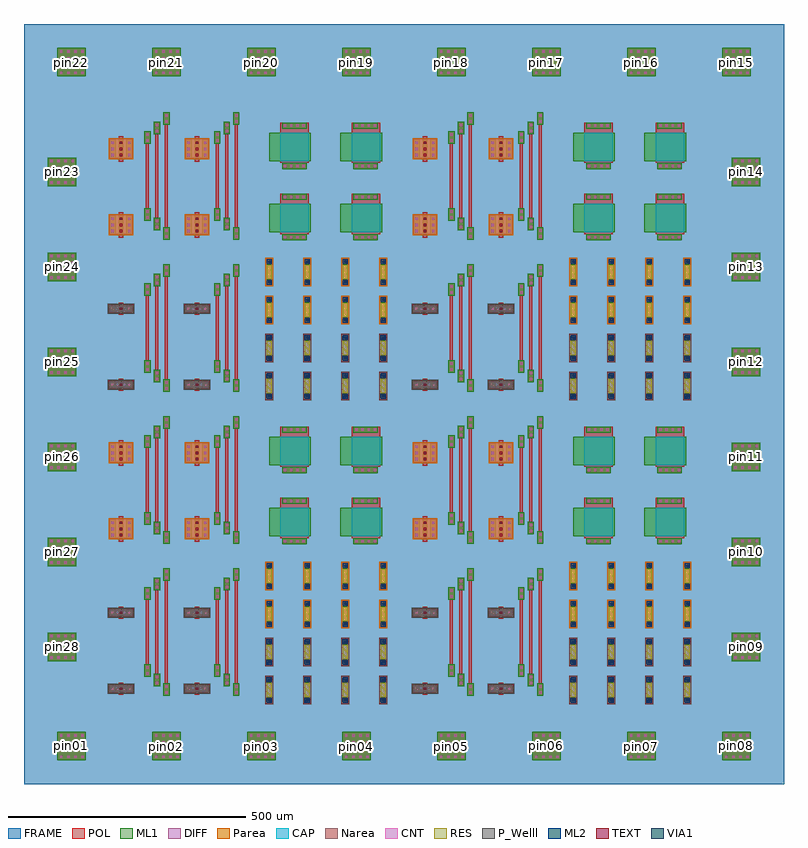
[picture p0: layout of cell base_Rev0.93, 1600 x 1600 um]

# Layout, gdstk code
from math import pi, radians
import gdstk
lib = gdstk.Library(unit=1e-6, precision=1e-09)
def R(c, l, rs):  # rectangles x0, y0, x1, y1
    for r in rs: c.add(gdstk.rectangle(r[:2], r[2:], *l))
DIFF = (3, 0)
POL = (5, 0)
CNT = (7, 0)
ML1 = (8, 0)
VIA1 = (9, 0)
ML2 = (10, 0)
TEXT = (13, 0)
FRAME = (14, 0)
RES = (15, 0)
CAP = (16, 0)
Parea = (18, 0)
Narea = (19, 0)
P_Welll = (21, 0)

c_16_5x5_flame = lib.new_cell('16_5x5_flame')
R(c_16_5x5_flame, FRAME, [(-800,-800,800,800), (-750,-750,750,750)])

dcont = lib.new_cell('dcont')
R(dcont, DIFF, [(-6.5,-6.5,6.5,6.5)])
R(dcont, CNT, [(-2.5,-2.5,2.5,2.5)])
R(dcont, ML1, [(-6.5,-6.5,6.5,6.5)])

pcont_min = lib.new_cell('pcont_min')
R(pcont_min, POL, [(-4.5,-6.5,4.5,6.5)])
R(pcont_min, CNT, [(-2.5,-2.5,2.5,2.5)])
R(pcont_min, ML1, [(-4.5,-6.5,4.5,6.5)])
R(pcont_min, TEXT, [(-2.5,-2.5,2.5,2.5)])

pch_1 = lib.new_cell('Pch$1')
R(pch_1, DIFF, [(0,17,48,57)])
R(pch_1, Parea, [(-2,15,50,59)])
pch_1.add(gdstk.FlexPath([(6.5,17),(6.5,57)], 13, ends="flush", simple_path=True, layer=8, datatype=0))  # ML1
pch_1.add(gdstk.FlexPath([(41.5,17),(41.5,57)], 13, ends="flush", simple_path=True, layer=8, datatype=0))  # ML1
pch_1.add(gdstk.FlexPath([(24,17),(24,57)], 10, ends=(6.5, 6.5), simple_path=True, layer=5, datatype=0))  # POL
pch_1.add(gdstk.Reference(dcont, (6.5,24)))
pch_1.add(gdstk.Reference(dcont, (6.5,37)))
pch_1.add(gdstk.Reference(dcont, (6.5,50)))
pch_1.add(gdstk.Reference(dcont, (41.5,24)))
pch_1.add(gdstk.Reference(dcont, (41.5,37)))
pch_1.add(gdstk.Reference(dcont, (41.5,50)))
pch_1.add(gdstk.Reference(pcont_min, (24,24)))
pch_1.add(gdstk.Reference(pcont_min, (24,37)))
pch_1.add(gdstk.Reference(pcont_min, (24,50)))

tin_m1 = lib.new_cell('tin_M1')
R(tin_m1, POL, [(-7,-7,6,6)])
R(tin_m1, CNT, [(-3,-3,2,2)])
R(tin_m1, ML1, [(-7,-7,6,6)])

v_tin_line3 = lib.new_cell('V_tin_line3')
v_tin_line3.add(gdstk.FlexPath([(-20.5,74),(-20.5,-74)], 6, ends="extended", simple_path=True, layer=5, datatype=0))  # POL
v_tin_line3.add(gdstk.FlexPath([(-0.5,94),(-0.5,-94)], 6, ends="extended", simple_path=True, layer=5, datatype=0))  # POL
v_tin_line3.add(gdstk.FlexPath([(19.5,114),(19.5,-114)], 6, ends="extended", simple_path=True, layer=5, datatype=0))  # POL
r = gdstk.Reference(tin_m1, (-20.5,74), rotation=pi); r.repetition = gdstk.Repetition(2, 3, v1=(0,13), v2=(20,20)); v_tin_line3.add(r)
r = gdstk.Reference(tin_m1, (-20.5,-88), rotation=pi); r.repetition = gdstk.Repetition(2, 3, v1=(0,13), v2=(20,-20)); v_tin_line3.add(r)

pmos_array = lib.new_cell('pmos_array')
R(pmos_array, FRAME, [(-160,-160,160,160)])
r = gdstk.Reference(pch_1, (-140,-140)); r.repetition = gdstk.Repetition(2, 2, v1=(160,0), v2=(0,160)); pmos_array.add(r)
pmos_array.add(gdstk.Reference(v_tin_line3, (-40,0)))
pmos_array.add(gdstk.Reference(v_tin_line3, (107,0)))

nch_1 = lib.new_cell('Nch$1')
R(nch_1, DIFF, [(0,18.5,48,28.5)])
R(nch_1, Narea, [(-2,15,50,32)])
R(nch_1, P_Welll, [(-4,13,52,34)])
nch_1.add(gdstk.FlexPath([(6.5,17),(6.5,30)], 13, ends="flush", simple_path=True, layer=8, datatype=0))  # ML1
nch_1.add(gdstk.FlexPath([(41.5,17),(41.5,30)], 13, ends="flush", simple_path=True, layer=8, datatype=0))  # ML1
nch_1.add(gdstk.FlexPath([(24,17),(24,30)], 10, ends=(6.5, 6.5), simple_path=True, layer=5, datatype=0))  # POL
nch_1.add(gdstk.Reference(dcont, (6.5,23.5)))
nch_1.add(gdstk.Reference(dcont, (41.5,23.5)))
nch_1.add(gdstk.Reference(pcont_min, (24,23.5)))

nmos_array = lib.new_cell('nmos_array')
R(nmos_array, FRAME, [(-160,-160,160,160)])
r = gdstk.Reference(nch_1, (-140,-143)); r.repetition = gdstk.Repetition(2, 2, v1=(160,0), v2=(0,160)); nmos_array.add(r)
nmos_array.add(gdstk.Reference(v_tin_line3, (-40,0)))
nmos_array.add(gdstk.Reference(v_tin_line3, (107,0)))

via = lib.new_cell('Via')
R(via, ML1, [(-6.5,-6.5,6.5,6.5)])
R(via, VIA1, [(-2.5,-2.5,2.5,2.5)])
R(via, ML2, [(-5,-5,5,5)])
R(via, TEXT, [(-2.5,-2.5,2.5,2.5)])

r_ndiff = lib.new_cell('R_ndiff')
R(r_ndiff, Narea, [(-2,-2,15,58)])
r_ndiff.add(gdstk.FlexPath([(6.5,0),(6.5,56)], 10, ends="flush", simple_path=True, layer=3, datatype=0))  # DIFF
r_ndiff.add(gdstk.FlexPath([(6.5,13),(6.5,43)], 10, ends="flush", simple_path=True, layer=15, datatype=0))  # RES
r_ndiff.add(gdstk.Reference(dcont, (6.5,6.5), rotation=pi/2))
r_ndiff.add(gdstk.Reference(via, (6.5,6.5)))
r_ndiff.add(gdstk.Reference(dcont, (6.5,49.5), rotation=pi/2))
r_ndiff.add(gdstk.Reference(via, (6.5,49.5)))

r_pdiff_1 = lib.new_cell('R_pdiff$1')
R(r_pdiff_1, Parea, [(-2,-2,15,58)])
r_pdiff_1.add(gdstk.FlexPath([(6.5,0),(6.5,56)], 10, ends="flush", simple_path=True, layer=3, datatype=0))  # DIFF
r_pdiff_1.add(gdstk.FlexPath([(6.5,13),(6.5,43)], 10, ends="flush", simple_path=True, layer=15, datatype=0))  # RES
r_pdiff_1.add(gdstk.Reference(dcont, (6.5,6.5), rotation=pi/2))
r_pdiff_1.add(gdstk.Reference(via, (6.5,6.5)))
r_pdiff_1.add(gdstk.Reference(dcont, (6.5,49.5), rotation=pi/2))
r_pdiff_1.add(gdstk.Reference(via, (6.5,49.5)))

resistor_array = lib.new_cell('resistor_array')
R(resistor_array, FRAME, [(-160,-160,160,160)])
r = gdstk.Reference(r_ndiff, (-130,-150)); r.repetition = gdstk.Repetition(4, 2, v1=(80,0), v2=(0,80)); resistor_array.add(r)
r = gdstk.Reference(r_pdiff_1, (-130,10)); r.repetition = gdstk.Repetition(4, 2, v1=(80,0), v2=(0,80)); resistor_array.add(r)

tin_cap = lib.new_cell('TIN_cap')
R(tin_cap, POL, [(23.5,-4,83.5,81)])
R(tin_cap, ML1, [(0,0,87.5,60)])
R(tin_cap, CAP, [(23.5,0,83.5,60)])

cap_con = lib.new_cell('cap_con')
cap_con.add(gdstk.Reference(tin_cap, (-43.75,-38.5)))
r = gdstk.Reference(tin_m1, (28.25,35.5), rotation=pi); r.repetition = gdstk.Repetition(4, 1, v1=(-13,0), v2=(0,0)); cap_con.add(r)
r = gdstk.Reference(tin_m1, (28.25,-49.5), rotation=pi); r.repetition = gdstk.Repetition(4, 1, v1=(-13,0), v2=(0,0)); cap_con.add(r)

tin_m1_cap_array = lib.new_cell('tin_m1_cap_array')
R(tin_m1_cap_array, FRAME, [(-160,-160,160,160)])
r = gdstk.Reference(cap_con, (-80,-80)); r.repetition = gdstk.Repetition(2, 2, v1=(150,0), v2=(0,150)); tin_m1_cap_array.add(r)

base_array = lib.new_cell('base_array')
base_array.add(gdstk.Reference(pmos_array, (-160,160)))
base_array.add(gdstk.Reference(nmos_array, (-160,-160)))
base_array.add(gdstk.Reference(resistor_array, (160,-160)))
base_array.add(gdstk.Reference(tin_m1_cap_array, (160,160)))

pad_60_m1_tin = lib.new_cell('pad_60_m1_tin')
R(pad_60_m1_tin, POL, [(-30,-30,30,30), (-30,-30,30,30)])
R(pad_60_m1_tin, ML1, [(-30,-30,30,30)])
r = gdstk.Reference(tin_m1, (22,-23), rotation=pi/2); r.repetition = gdstk.Repetition(4, 4, v1=(0,15), v2=(-15,0)); pad_60_m1_tin.add(r)

base_rev0_93 = lib.new_cell('base_Rev0.93')
base_rev0_93.add(gdstk.Reference(c_16_5x5_flame, (0,0)))
r = gdstk.Reference(base_array, (-320,-320)); r.repetition = gdstk.Repetition(2, 2, v1=(640,0), v2=(0,640)); base_rev0_93.add(r)
r = gdstk.Reference(pad_60_m1_tin, (700,720), rotation=pi/2); r.repetition = gdstk.Repetition(1, 8, v1=(0,0), v2=(-200,0)); base_rev0_93.add(r)
r = gdstk.Reference(pad_60_m1_tin, (700,-720), rotation=pi/2); r.repetition = gdstk.Repetition(1, 8, v1=(0,0), v2=(-200,0)); base_rev0_93.add(r)
r = gdstk.Reference(pad_60_m1_tin, (-720,488), rotation=pi); r.repetition = gdstk.Repetition(1, 6, v1=(0,0), v2=(0,-200)); base_rev0_93.add(r)
r = gdstk.Reference(pad_60_m1_tin, (720,488), rotation=pi); r.repetition = gdstk.Repetition(1, 6, v1=(0,0), v2=(0,-200)); base_rev0_93.add(r)
base_rev0_93.add(gdstk.Label('pin01', (-699,-719.5), layer=8, texttype=0))
base_rev0_93.add(gdstk.Label('pin02', (-499,-720), layer=8, texttype=0))
base_rev0_93.add(gdstk.Label('pin03', (-299,-720), layer=8, texttype=0))
base_rev0_93.add(gdstk.Label('pin04', (-99,-720), layer=8, texttype=0))
base_rev0_93.add(gdstk.Label('pin05', (101,-720), layer=8, texttype=0))
base_rev0_93.add(gdstk.Label('pin06', (301,-719.5), layer=8, texttype=0))
base_rev0_93.add(gdstk.Label('pin07', (501,-720), layer=8, texttype=0))
base_rev0_93.add(gdstk.Label('pin08', (701,-719.5), layer=8, texttype=0))
base_rev0_93.add(gdstk.Label('pin09', (720.5,-511), layer=8, texttype=0))
base_rev0_93.add(gdstk.Label('pin10', (720,-311), layer=8, texttype=0))
base_rev0_93.add(gdstk.Label('pin11', (720,-111), layer=8, texttype=0))
base_rev0_93.add(gdstk.Label('pin12', (720,89), layer=8, texttype=0))
base_rev0_93.add(gdstk.Label('pin13', (720,289), layer=8, texttype=0))
base_rev0_93.add(gdstk.Label('pin14', (720,489), layer=8, texttype=0))
base_rev0_93.add(gdstk.Label('pin15', (701,720), layer=8, texttype=0))
base_rev0_93.add(gdstk.Label('pin16', (501,720), layer=8, texttype=0))
base_rev0_93.add(gdstk.Label('pin17', (301,720), layer=8, texttype=0))
base_rev0_93.add(gdstk.Label('pin18', (101,720), layer=8, texttype=0))
base_rev0_93.add(gdstk.Label('pin19', (-99,720), layer=8, texttype=0))
base_rev0_93.add(gdstk.Label('pin20', (-299,720), layer=8, texttype=0))
base_rev0_93.add(gdstk.Label('pin21', (-499,720), layer=8, texttype=0))
base_rev0_93.add(gdstk.Label('pin22', (-699,720), layer=8, texttype=0))
base_rev0_93.add(gdstk.Label('pin23', (-720,489), layer=8, texttype=0))
base_rev0_93.add(gdstk.Label('pin24', (-720,289), layer=8, texttype=0))
base_rev0_93.add(gdstk.Label('pin25', (-720,89), layer=8, texttype=0))
base_rev0_93.add(gdstk.Label('pin26', (-720,-111), layer=8, texttype=0))
base_rev0_93.add(gdstk.Label('pin27', (-720,-311), layer=8, texttype=0))
base_rev0_93.add(gdstk.Label('pin28', (-720,-511), layer=8, texttype=0))

lib.write_gds('base_Rev0.93.gds')
